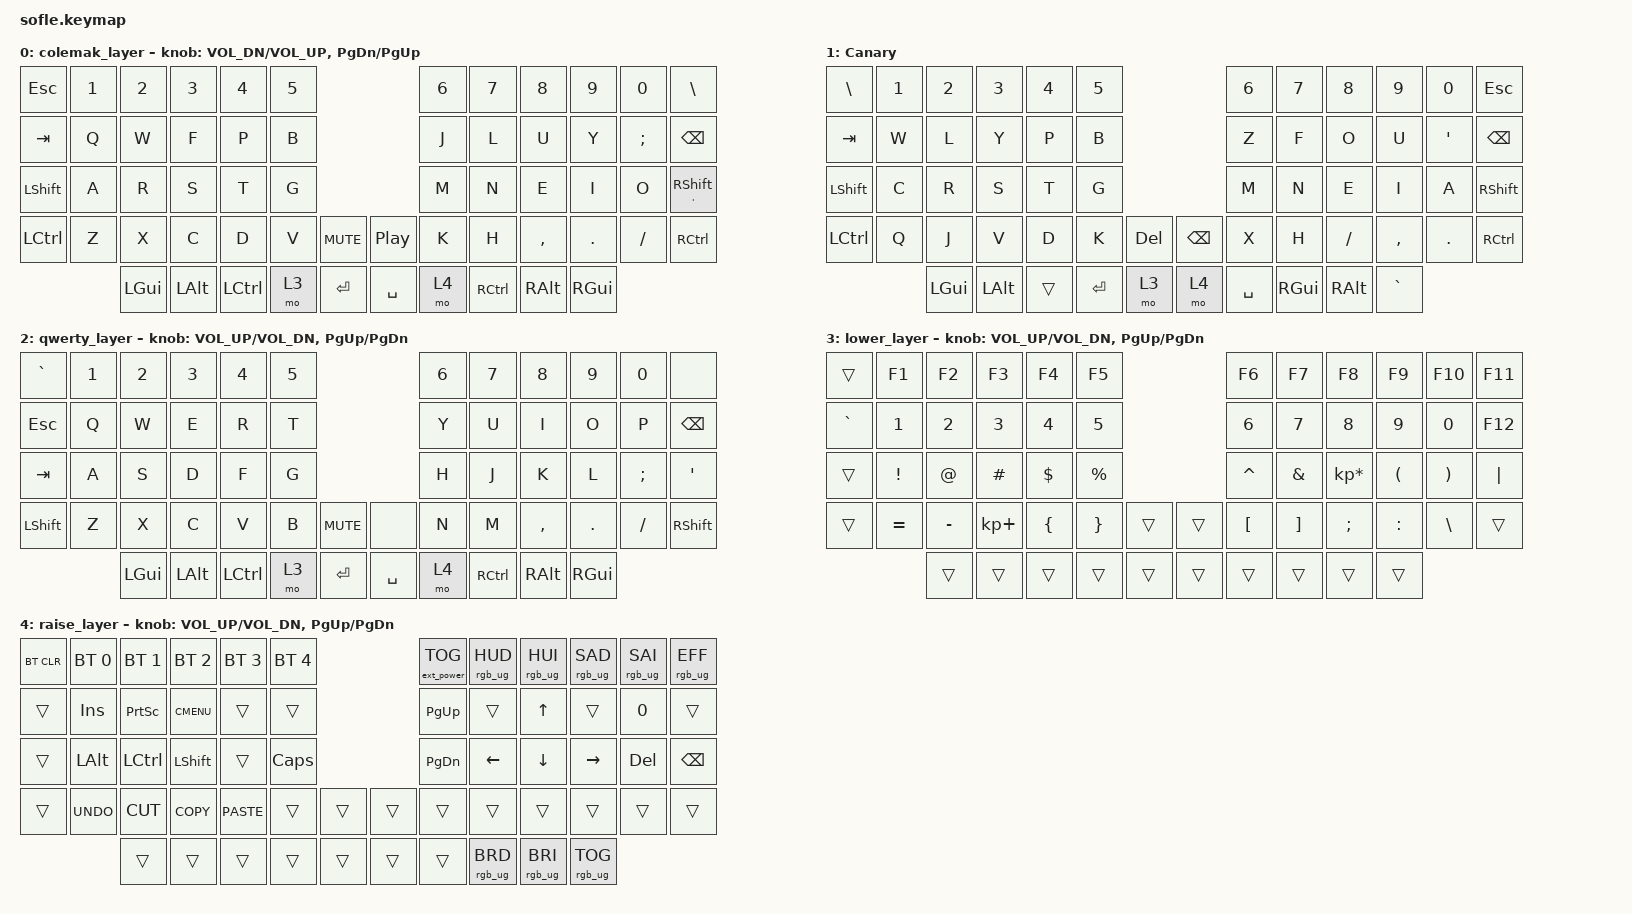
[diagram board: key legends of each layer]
/*
 * Copyright (c) 2020 The ZMK Contributors
 *
 * SPDX-License-Identifier: MIT
 */

#include <behaviors.dtsi>
#include <dt-bindings/zmk/bt.h>
#include <dt-bindings/zmk/ext_power.h>
#include <dt-bindings/zmk/keys.h>
#include <dt-bindings/zmk/rgb.h>

/ {
    combos {
        compatible = "zmk,combos";

        QWERTY {
            bindings = <&tog 0>;
            key-positions = <53 56>;
            layers = <0 3>;
        };

        ZMK_STUDIO {
            bindings = <&studio_unlock>;
            key-positions = <0 1 2>;
        };
    };

    keymap {
        compatible = "zmk,keymap";

        colemak_layer {
            // ------------------------------------------------------------------------------------------------------------
            // |  `    |  1  |  2  |  3   |  4   |  5   |                   |  6   |  7    |  8    |  9   |   0   |   \   |
            // |  TAB  |  Q  |  W  |  F   |  P   |  B   |                   |  J   |  L    |  U    |  Y   |   ;   | BKSPC |
            // | C/ESC |  A  |  R  |  S   |  T   |  G   |                   |  M   |  N    |  E    |  I   |   O   |  C/'  |
            // | SHIFT |  Z  |  X  |  C   |  D   |  V   |  MUTE  |  | PLAY  |  K   |  H    |  ,    |  .   |   /   | SHIFT |
            //               | GUI | ALT  | CTRL | LOWER|  ENTER |  | SPACE | RAISE| CTRL  | ALT   | GUI  |

            bindings = <
&kp ESC    &kp N1  &kp N2    &kp N3    &kp N4     &kp N5                         &kp N6  &kp N7     &kp N8     &kp N9    &kp N0    &kp BSLH
&kp TAB    &kp Q   &kp W     &kp F     &kp P      &kp B                          &kp J   &kp L      &kp U      &kp Y     &kp SEMI  &kp BSPC
&kp LSHFT  &kp A   &kp R     &kp S     &kp T      &kp G                          &kp M   &kp N      &kp E      &kp I     &kp O     &mt SQT RSHFT
&kp LCTRL  &kp Z   &kp X     &kp C     &kp D      &kp V   &kp C_MUTE  &kp C_PP   &kp K   &kp H      &kp COMMA  &kp DOT   &kp FSLH  &kp RCTRL
                   &kp LGUI  &kp LALT  &kp LCTRL  &mo 3   &kp RET     &kp SPACE  &mo 4   &kp RCTRL  &kp RALT   &kp RGUI
            >;

            sensor-bindings = <&inc_dec_kp C_VOL_DN C_VOL_UP &inc_dec_kp PG_DN PG_UP>;
        };

        Canary {
            bindings = <
&kp BSLH   &kp N1  &kp N2    &kp N3    &kp N4  &kp N5                      &kp N6     &kp N7    &kp N8    &kp N9     &kp N0    &kp ESC
&kp TAB    &kp W   &kp L     &kp Y     &kp P   &kp B                       &kp Z      &kp F     &kp O     &kp U      &kp APOS  &kp BSPC
&kp LSHFT  &kp C   &kp R     &kp S     &kp T   &kp G                       &kp M      &kp N     &kp E     &kp I      &kp A     &kp RSHFT
&kp LCTRL  &kp Q   &kp J     &kp V     &kp D   &kp K    &kp DEL  &kp BSPC  &kp X      &kp H     &kp FSLH  &kp COMMA  &kp DOT   &kp RCTRL
                   &kp LGUI  &kp LALT  &trans  &kp RET  &mo 3    &mo 4     &kp SPACE  &kp RGUI  &kp RALT  &kp GRAVE
            >;
        };

        qwerty_layer {
            // ------------------------------------------------------------------------------------------------------------
            // |  `    |  1  |  2  |  3   |  4   |  5   |                   |  6   |  7    |  8    |  9   |   0   |       |
            // |  ESC  |  Q  |  W  |  E   |  R   |  T   |                   |  Y   |  U    |  I    |  O   |   P   | BKSPC |
            // |  TAB  |  A  |  S  |  D   |  F   |  G   |                   |  H   |  J    |  K    |  L   |   ;   |   '   |
            // | SHIFT |  Z  |  X  |  C   |  V   |  B   |  MUTE  |  |       |  N   |  M    |  ,    |  .   |   /   | SHIFT |
            //               | GUI | ALT  | CTRL | LOWER|  ENTER |  | SPACE | RAISE| CTRL  | ALT   | GUI  |

            bindings = <
&kp GRAVE  &kp N1  &kp N2    &kp N3    &kp N4     &kp N5                         &kp N6  &kp N7     &kp N8     &kp N9    &kp N0    &none
&kp ESC    &kp Q   &kp W     &kp E     &kp R      &kp T                          &kp Y   &kp U      &kp I      &kp O     &kp P     &kp BSPC
&kp TAB    &kp A   &kp S     &kp D     &kp F      &kp G                          &kp H   &kp J      &kp K      &kp L     &kp SEMI  &kp SQT
&kp LSHFT  &kp Z   &kp X     &kp C     &kp V      &kp B   &kp C_MUTE  &none      &kp N   &kp M      &kp COMMA  &kp DOT   &kp FSLH  &kp RSHFT
                   &kp LGUI  &kp LALT  &kp LCTRL  &mo 3   &kp RET     &kp SPACE  &mo 4   &kp RCTRL  &kp RALT   &kp RGUI
            >;

            sensor-bindings = <&inc_dec_kp C_VOL_UP C_VOL_DN &inc_dec_kp PG_UP PG_DN>;
        };

        lower_layer {
            // TODO: Some binds are waiting for shifted keycode support.
            // ------------------------------------------------------------------------------------------------------------
            // |       |  F1 |  F2 |  F3  |  F4  |  F5  |                   |  F6  |  F7   |  F8   |  F9  |  F10  |  F11  |
            // | `     |   1 |   2 |   3  |   4  |   5  |                   |   6  |   7   |   8   |   9  |    0  |  F12  |
            // |       |  !  |  @  |  #   |  $   |  %   |                   |  ^   |  &    |  *    |  (   |   )   |   |   |
            // |       |  =  |  -  |  +   |  {   |  }   |        |  |       |  [   |  ]    |  ;    |  :   |   \   |       |
            //               |     |      |      |      |        |  |       |      |       |       |      |

            bindings = <
&trans     &kp F1     &kp F2     &kp F3       &kp F4    &kp F5                     &kp F6     &kp F7    &kp F8           &kp F9     &kp F10   &kp F11
&kp GRAVE  &kp N1     &kp N2     &kp N3       &kp N4    &kp N5                     &kp N6     &kp N7    &kp N8           &kp N9     &kp N0    &kp F12
&trans     &kp EXCL   &kp AT     &kp HASH     &kp DLLR  &kp PRCNT                  &kp CARET  &kp AMPS  &kp KP_MULTIPLY  &kp LPAR   &kp RPAR  &kp PIPE
&trans     &kp EQUAL  &kp MINUS  &kp KP_PLUS  &kp LBRC  &kp RBRC   &trans  &trans  &kp LBKT   &kp RBKT  &kp SEMI         &kp COLON  &kp BSLH  &trans
                      &trans     &trans       &trans    &trans     &trans  &trans  &trans     &trans    &trans           &trans
            >;

            sensor-bindings = <&inc_dec_kp C_VOL_UP C_VOL_DN &inc_dec_kp PG_UP PG_DN>;
        };

        raise_layer {
            // ------------------------------------------------------------------------------------------------------------
            // |BTCLR| BT1  | BT2  |  BT3  |  BT4  |  BT5 |                |      |      |       |      |       |       |
            // |     | INS  | PSCR | GUI   |       |      |                | PGUP |      |   ^   |      |       |       |
            // |     | ALT  | CTRL | SHIFT |       | CAPS |                | PGDN |   <- |   v   |  ->  |  DEL  | BKSPC |
            // |     | UNDO | CUT  | COPY  | PASTE |      |      |  |      |      |      |       |      |       |       |
            //              |      |       |       |      |      |  |      |      |      |       |      |

            bindings = <
&bt BT_CLR  &bt BT_SEL 0  &bt BT_SEL 1  &bt BT_SEL 2  &bt BT_SEL 3  &bt BT_SEL 4                  &ext_power EP_TOG  &rgb_ug RGB_HUD  &rgb_ug RGB_HUI  &rgb_ug RGB_SAD  &rgb_ug RGB_SAI  &rgb_ug RGB_EFF
&trans      &kp INS       &kp PSCRN     &kp K_CMENU   &trans        &trans                        &kp PG_UP          &trans           &kp UP           &trans           &kp N0           &trans
&trans      &kp LALT      &kp LCTRL     &kp LSHFT     &trans        &kp CLCK                      &kp PG_DN          &kp LEFT         &kp DOWN         &kp RIGHT        &kp DEL          &kp BSPC
&trans      &kp K_UNDO    &kp K_CUT     &kp K_COPY    &kp K_PASTE   &trans        &trans  &trans  &trans             &trans           &trans           &trans           &trans           &trans
                          &trans        &trans        &trans        &trans        &trans  &trans  &trans             &rgb_ug RGB_BRD  &rgb_ug RGB_BRI  &rgb_ug RGB_TOG
            >;

            sensor-bindings = <&inc_dec_kp C_VOL_UP C_VOL_DN &inc_dec_kp PG_UP PG_DN>;
        };

        // ------------------------------------------------------------------------------------------------------------
        // |BTCLR | BT1   | BT2   |  BT3  |  BT4  |  BT5  |                |      |      |       |      |       |       |
        // |EXTPWR|RGB_HUD|RGB_HUI|RGB_SAD|RGB_SAI|RGB_EFF|                |      |      |       |      |       |       |
        // |      |RGB_BRD|RGB_BRI|       |       |       |                |      |      |       |      |       |       |
        // |      |       |       |       |       |       |RGB_TOG| |      |      |      |       |      |       |       |
        //                |       |       |       |       |       | |      |      |      |       |      |
    };
};
